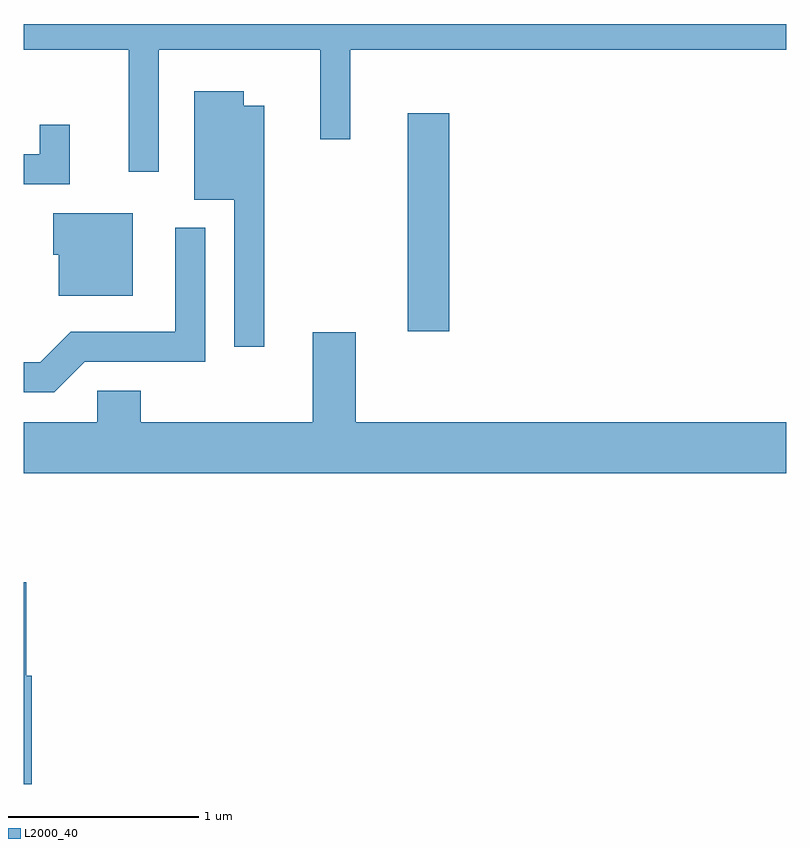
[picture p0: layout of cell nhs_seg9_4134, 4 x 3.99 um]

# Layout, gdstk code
import gdstk
lib = gdstk.Library(unit=1e-6, precision=1e-09)
def R(c, l, rs):  # rectangles x0, y0, x1, y1
    for r in rs: c.add(gdstk.rectangle(r[:2], r[2:], *l))
def P(c, l, *ps):  # polygons
    for p in ps: c.add(gdstk.Polygon(p, *l))
L2000_40 = (2000, 40)

nhs_seg9_4134 = lib.new_cell('nhs_seg9_4134')
R(nhs_seg9_4134, L2000_40, [(309.626,1954.821,309.844,1955.964)])
P(nhs_seg9_4134, L2000_40, [(308.319,1956.296),(309.166,1956.296),(309.166,1955.828),(309.324,1955.828),(309.324,1956.296),(311.611,1956.296),(311.611,1956.432),(307.611,1956.432),(307.611,1956.296),(308.161,1956.296),(308.161,1955.658),(308.319,1955.658)],
  [(308.874,1956.004),(308.764,1956.004),(308.764,1956.079),(308.506,1956.079),(308.506,1955.511),(308.716,1955.511),(308.716,1954.738),(308.874,1954.738)],
  [(307.854,1955.903),(307.696,1955.903),(307.696,1955.749),(307.611,1955.749),(307.611,1955.591),(307.854,1955.591)],
  [(308.184,1955.439),(307.766,1955.439),(307.766,1955.221),(307.796,1955.221),(307.796,1955.006),(308.184,1955.006)],
  [(307.932,1954.661),(308.564,1954.661),(308.564,1955.363),(308.406,1955.363),(308.406,1954.819),(307.859,1954.819),(307.699,1954.659),(307.611,1954.659),(307.611,1954.501),(307.772,1954.501)],
  [(311.611,1954.344),(309.354,1954.344),(309.354,1954.814),(309.126,1954.814),(309.126,1954.344),(308.224,1954.344),(308.224,1954.509),(307.996,1954.509),(307.996,1954.344),(307.611,1954.344),(307.611,1954.076),(311.611,1954.076)],
  [(307.654,1953.014),(307.624,1953.014),(307.624,1953.504),(307.611,1953.504),(307.611,1952.446),(307.654,1952.446)])

lib.write_gds('nhs_seg9_4134.gds')
